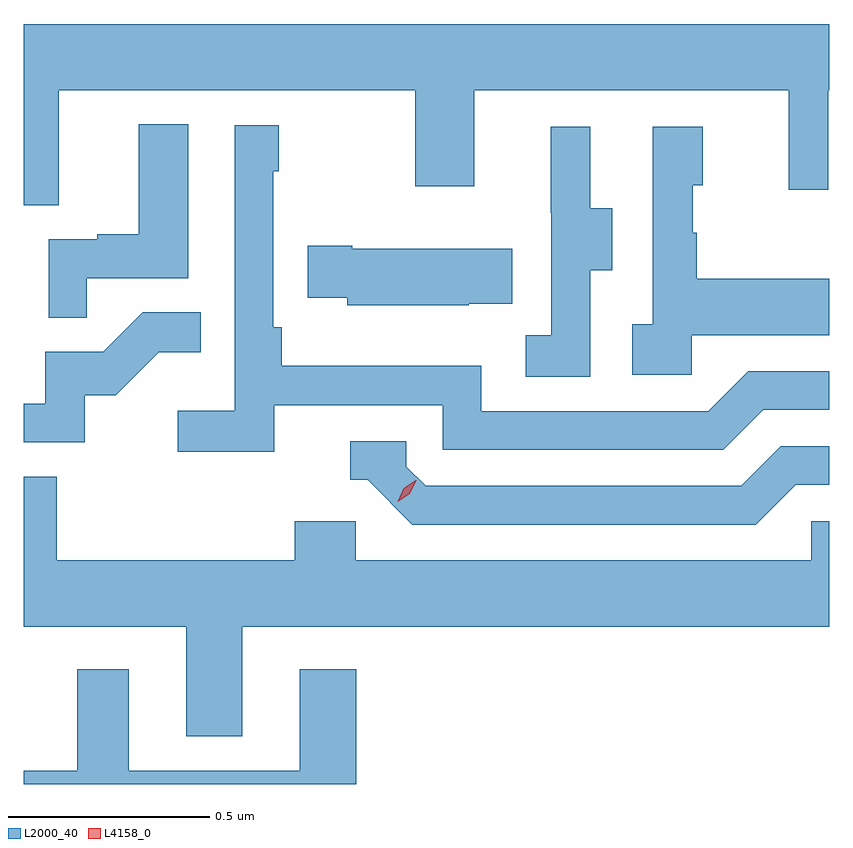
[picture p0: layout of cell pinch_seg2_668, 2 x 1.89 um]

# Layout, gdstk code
import gdstk
lib = gdstk.Library(unit=1e-6, precision=1e-09)
def P(c, l, *ps):  # polygons
    for p in ps: c.add(gdstk.Polygon(p, *l))
L2000_40 = (2000, 40)
L4158_0 = (4158, 0)

pinch_seg2_668 = lib.new_cell('pinch_seg2_668')
P(pinch_seg2_668, L2000_40, [(1030.519,590.36),(1031.404,590.36),(1031.404,590.121),(1031.551,590.121),(1031.551,590.36),(1032.332,590.36),(1032.332,590.112),(1032.429,590.112),(1032.429,590.36),(1032.432,590.36),(1032.432,590.524),(1030.432,590.524),(1030.432,590.074),(1030.519,590.074)],
  [(1030.589,589.893),(1030.84,589.893),(1030.84,590.275),(1030.718,590.275),(1030.718,590.002),(1030.615,590.002),(1030.615,589.989),(1030.494,589.989),(1030.494,589.795),(1030.589,589.795)],
  [(1031.054,589.578),(1031.472,589.578),(1031.472,589.467),(1032.169,589.467),(1032.268,589.566),(1032.432,589.566),(1032.432,589.662),(1032.231,589.662),(1032.132,589.563),(1031.568,589.563),(1031.568,589.675),(1031.072,589.675),(1031.072,589.771),(1031.052,589.771),(1031.052,590.159),(1031.065,590.159),(1031.065,590.272),(1030.956,590.272),(1030.956,589.564),(1030.815,589.564),(1030.815,589.462),(1031.054,589.462)],
  [(1031.838,589.912),(1031.893,589.912),(1031.893,590.067),(1031.839,590.067),(1031.839,590.269),(1031.741,590.269),(1031.741,590.055),(1031.742,590.055),(1031.742,589.751),(1031.679,589.751),(1031.679,589.648),(1031.838,589.648)],
  [(1032.09,589.751),(1032.432,589.751),(1032.432,589.891),(1032.103,589.891),(1032.103,590.006),(1032.093,590.006),(1032.093,590.124),(1032.118,590.124),(1032.118,590.269),(1031.994,590.269),(1031.994,589.778),(1031.943,589.778),(1031.943,589.653),(1032.09,589.653)],
  [(1031.537,589.829),(1031.645,589.829),(1031.645,589.966),(1031.248,589.966),(1031.248,589.974),(1031.137,589.974),(1031.137,589.844),(1031.235,589.844),(1031.235,589.826),(1031.537,589.826)],
  [(1030.584,589.602),(1030.66,589.602),(1030.767,589.709),(1030.871,589.709),(1030.871,589.808),(1030.728,589.808),(1030.63,589.71),(1030.485,589.71),(1030.485,589.581),(1030.432,589.581),(1030.432,589.485),(1030.584,589.485)],
  [(1032.349,589.38),(1032.432,589.38),(1032.432,589.476),(1032.312,589.476),(1032.213,589.377),(1031.43,589.377),(1031.382,589.425),(1031.382,589.488),(1031.243,589.488),(1031.243,589.392),(1031.286,589.392),(1031.397,589.281),(1032.25,589.281)],
  [(1030.975,589.028),(1032.432,589.028),(1032.432,589.29),(1032.387,589.29),(1032.387,589.192),(1031.256,589.192),(1031.256,589.29),(1031.105,589.29),(1031.105,589.192),(1030.514,589.192),(1030.514,589.4),(1030.432,589.4),(1030.432,589.028),(1030.835,589.028),(1030.835,588.755),(1030.975,588.755)],
  [(1031.257,588.922),(1031.117,588.922),(1031.117,588.67),(1030.693,588.67),(1030.693,588.922),(1030.565,588.922),(1030.565,588.67),(1030.432,588.67),(1030.432,588.637),(1031.257,588.637)])
P(pinch_seg2_668, L4158_0, [(1031.36,589.338),(1031.36,589.338),(1031.375,589.371),(1031.405,589.391),(1031.406,589.391),(1031.406,589.391),(1031.39,589.358),(1031.36,589.338)])

lib.write_gds('pinch_seg2_668.gds')
